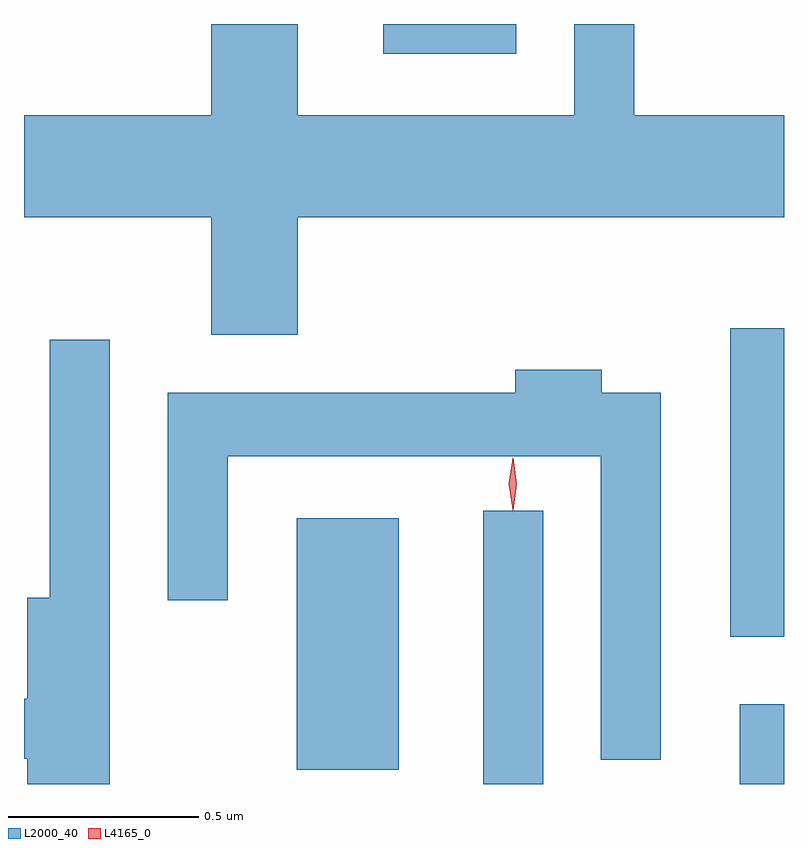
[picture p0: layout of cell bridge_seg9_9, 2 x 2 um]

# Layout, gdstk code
import gdstk
lib = gdstk.Library(unit=1e-6, precision=1e-09)
def R(c, l, rs):  # rectangles x0, y0, x1, y1
    for r in rs: c.add(gdstk.rectangle(r[:2], r[2:], *l))
def P(c, l, *ps):  # polygons
    for p in ps: c.add(gdstk.Polygon(p, *l))
L2000_40 = (2000, 40)
L4165_0 = (4165, 0)

bridge_seg9_9 = lib.new_cell('bridge_seg9_9')
R(bridge_seg9_9, L2000_40, [(1710.556,2079.124,1710.714,2079.843), (1711.231,2079.124,1711.348,2079.334), (1710.066,2079.161,1710.334,2079.824), (1711.206,2079.511,1711.348,2080.324), (1710.293,2081.046,1710.644,2081.124)])
P(bridge_seg9_9, L2000_40, [(1710.069,2080.616),(1711.348,2080.616),(1711.348,2080.884),(1710.954,2080.884),(1710.954,2081.124),(1710.796,2081.124),(1710.796,2080.884),(1710.069,2080.884),(1710.069,2081.124),(1709.841,2081.124),(1709.841,2080.884),(1709.348,2080.884),(1709.348,2080.616),(1709.841,2080.616),(1709.841,2080.306),(1710.069,2080.306)],
  [(1709.574,2080.293),(1709.416,2080.293),(1709.416,2079.614),(1709.356,2079.614),(1709.356,2079.349),(1709.348,2079.349),(1709.348,2079.191),(1709.356,2079.191),(1709.356,2079.124),(1709.574,2079.124)],
  [(1711.024,2080.154),(1710.869,2080.154),(1710.869,2080.214),(1710.641,2080.214),(1710.641,2080.154),(1709.726,2080.154),(1709.726,2079.608),(1709.884,2079.608),(1709.884,2079.986),(1710.866,2079.986),(1710.866,2079.188),(1711.024,2079.188)])
P(bridge_seg9_9, L4165_0, [(1710.634,2079.844),(1710.625,2079.913),(1710.634,2079.982),(1710.635,2079.983),(1710.636,2079.982),(1710.645,2079.913),(1710.636,2079.844),(1710.635,2079.844)],
  [(1710.634,2079.847),(1710.634,2079.847),(1710.624,2079.914),(1710.634,2079.98),(1710.634,2079.98),(1710.635,2079.98),(1710.644,2079.914),(1710.635,2079.847)])

lib.write_gds('bridge_seg9_9.gds')
